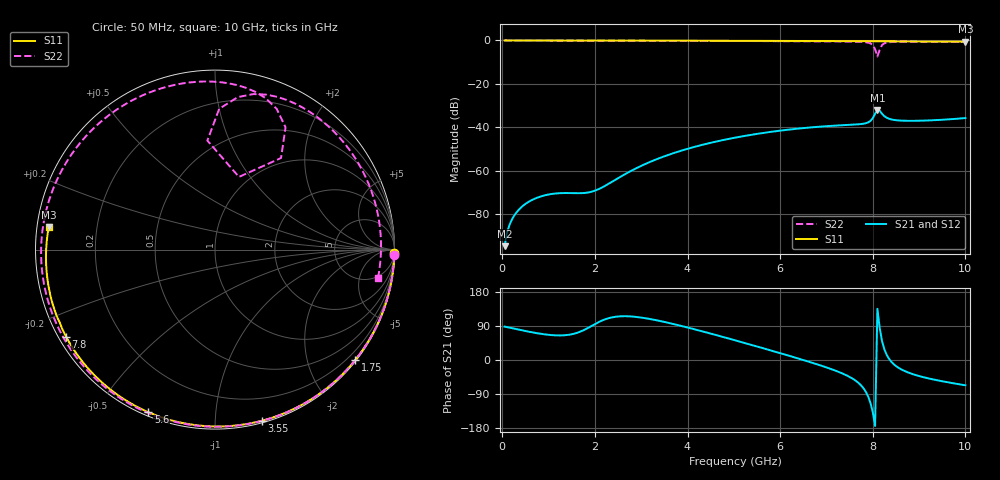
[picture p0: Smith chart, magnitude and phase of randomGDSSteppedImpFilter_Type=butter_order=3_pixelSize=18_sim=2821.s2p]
! freq	dB(S11)	phase(S11)	dB(S12)	phase(S12)
!  dB(S21)	phase(S21)	dB(S22)	phase(S22)
!S-par simulation data
#  GHz  S  DB  R 50
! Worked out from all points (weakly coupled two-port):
!   200 points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, 50 MHz to 10 GHz, reference 50 ohm
!   highest |S21| = -31.99 dB at 8.1 GHz (marker M1); lowest = -94.6 dB at 50 MHz (marker M2)
!   lowest |S11| = -0.6 dB at 10 GHz (marker M3), VSWR 29.67, Z = 1.69 + j3.38 ohm
!   |S11| at or under -10 dB: nowhere
!   |S22| runs from -7.4 to 0.0 dB; largest |S21 - S12| = 0
!   S11 on the Smith chart (normalised r, x): 50 MHz: open; 1.75 GHz: 0.03, -2.89; 3.55 GHz: 0.02, -1.31; 5.6 GHz: 0.02, -0.67; 7.8 GHz: 0.02, -0.27; 10 GHz: 0.03, +0.07
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0.05  -0.00 -1.1  -94.59 88.1  -94.59 88.1  -0.01 -1.8
0.25  -0.01 -5.6  -80.78 82.9  -80.78 82.9  -0.01 -8.8
0.55  -0.01 -12.2  -74.45 75.2  -74.45 75.2  -0.02 -19.3
0.9  -0.02 -19.9  -71.30 67.9  -71.30 67.9  -0.04 -31.4
1.75  -0.05 -38.1  -70.17 78.3  -70.17 78.3  -0.08 -60.3
2.55  -0.07 -54.8  -62.70 115.3  -62.70 115.3  -0.11 -86.6
3.4  -0.09 -71.7  -54.06 103.1  -54.06 103.1  -0.15 -113.8
3.55  -0.10 -74.7  -52.88 99.1  -52.88 99.1  -0.15 -118.6
5.05  -0.16 -102.6  -44.60 51.2  -44.60 51.2  -0.24 -167.1
5.6  -0.18 -112.3  -42.64 32.2  -42.64 32.2  -0.29 173.9
6.7  -0.25 -131.2  -39.91 -7.6  -39.91 -7.6  -0.40 132.1
7.35  -0.30 -142.1  -38.97 -35.8  -38.97 -35.8  -0.49 103.7
7.8  -0.34 -149.7  -38.29 -74.6  -38.29 -74.6  -0.74 79.3
8  -0.37 -153.1  -35.74 -137.7  -35.74 -137.7  -2.08 60.0
8.05  -0.38 -154.0  -33.75 -174.0  -33.75 -174.0  -4.03 54.2
8.1  -0.39 -154.7  -31.99 135.1  -31.99 135.1  -7.40 71.8
8.15  -0.39 -155.5  -32.36 84.3  -32.36 84.3  -4.31 94.0
8.25  -0.39 -157.2  -34.81 28.2  -34.81 28.2  -1.32 81.5
8.35  -0.40 -158.9  -36.00 3.3  -36.00 3.3  -0.82 71.6
8.65  -0.43 -164.0  -36.90 -26.9  -36.90 -26.9  -0.61 52.7
9.1  -0.48 -171.8  -36.86 -45.6  -36.86 -45.6  -0.61 30.1
10  -0.59 172.3  -35.68 -66.8  -35.68 -66.8  -0.71 -10.0
